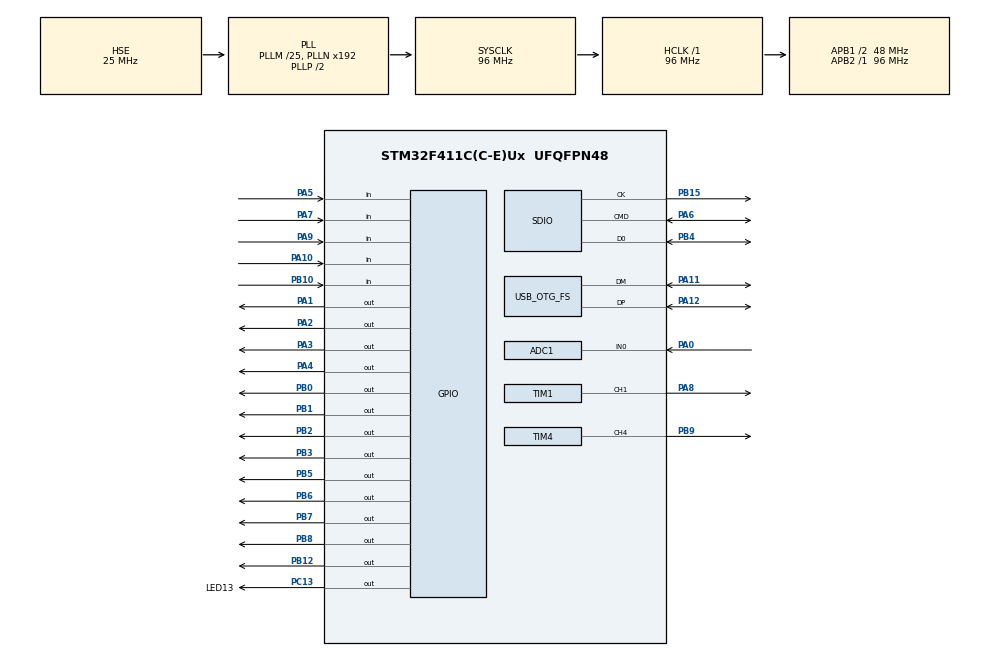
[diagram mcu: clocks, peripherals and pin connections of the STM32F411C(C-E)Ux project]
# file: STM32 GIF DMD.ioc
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ADC1.Channel-0\#ChannelRegularConversion=ADC_CHANNEL_0
ADC1.NbrOfConversionFlag=1
ADC1.Rank-0\#ChannelRegularConversion=1
ADC1.SamplingTime-0\#ChannelRegularConversion=ADC_SAMPLETIME_480CYCLES
ADC1.master=1
Dma.Request0=TIM1_CH2
Dma.TIM1_CH2.0.Direction=DMA_MEMORY_TO_PERIPH
Dma.TIM1_CH2.0.FIFOMode=DMA_FIFOMODE_ENABLE
Dma.TIM1_CH2.0.FIFOThreshold=DMA_FIFO_THRESHOLD_FULL
Dma.TIM1_CH2.0.Instance=DMA2_Stream2
Dma.TIM1_CH2.0.MemBurst=DMA_MBURST_INC16
Dma.TIM1_CH2.0.MemDataAlignment=DMA_MDATAALIGN_BYTE
Dma.TIM1_CH2.0.MemInc=DMA_MINC_ENABLE
Dma.TIM1_CH2.0.Mode=DMA_NORMAL
Dma.TIM1_CH2.0.PeriphBurst=DMA_PBURST_SINGLE
Dma.TIM1_CH2.0.PeriphDataAlignment=DMA_PDATAALIGN_BYTE
Dma.TIM1_CH2.0.PeriphInc=DMA_PINC_DISABLE
Dma.TIM1_CH2.0.Priority=DMA_PRIORITY_LOW
FATFS.BSP.number=1
FATFS.USE_DMA_CODE_SD=0
FATFS._MAX_SS=512
FATFS._USE_LFN=1
FATFS._USE_MKFS=0
FATFS0.BSP.STBoard=false
FATFS0.BSP.api=Unknown
FATFS0.BSP.i2caddr=0
FATFS0.BSP.instance=PA10
FATFS0.BSP.ip=GPIO
FATFS0.BSP.mode=Input
FATFS0.BSP.name=Detect_SDIO
FATFS0.BSP.solution=PA10
Mcu.Family=STM32F4
Mcu.Name=STM32F411C(C-E)Ux
Mcu.Package=UFQFPN48
NVIC.DMA2_Stream2_IRQn=true\:0\:0\:false\:false\:true\:false\:true
NVIC.OTG_FS_IRQn=true\:0\:0\:true\:false\:true\:true\:true
NVIC.PriorityGroup=NVIC_PRIORITYGROUP_4
NVIC.TIM4_IRQn=true\:0\:0\:true\:false\:true\:true\:true
PA0-WKUP.Signal=ADCx_IN0
PA1.GPIO_Speed=GPIO_SPEED_FREQ_HIGH
PA1.Signal=GPIO_Output
PA10.Signal=GPIO_Input
PA11.Mode=Device_Only
PA11.Signal=USB_OTG_FS_DM
PA12.Mode=Device_Only
PA12.Signal=USB_OTG_FS_DP
PA13.Mode=Serial_Wire
PA13.Signal=SYS_JTMS-SWDIO
PA14.Mode=Serial_Wire
PA14.Signal=SYS_JTCK-SWCLK
PA2.GPIO_Speed=GPIO_SPEED_FREQ_HIGH
PA2.Signal=GPIO_Output
PA3.GPIO_Speed=GPIO_SPEED_FREQ_HIGH
PA3.Signal=GPIO_Output
PA4.GPIO_Speed=GPIO_SPEED_FREQ_HIGH
PA4.Signal=GPIO_Output
PA5.GPIO_PuPd=GPIO_PULLUP
PA5.Signal=GPIO_Input
PA6.Mode=SD_1_bit
PA6.Signal=SDIO_CMD
PA7.GPIO_PuPd=GPIO_PULLUP
PA7.Signal=GPIO_Input
PA8.Signal=S_TIM1_CH1
PA9.GPIO_PuPd=GPIO_PULLUP
PA9.Signal=GPIO_Input
PB0.GPIO_Speed=GPIO_SPEED_FREQ_HIGH
PB0.Signal=GPIO_Output
PB1.GPIO_Speed=GPIO_SPEED_FREQ_HIGH
PB1.Signal=GPIO_Output
PB10.GPIO_PuPd=GPIO_PULLUP
PB10.Signal=GPIO_Input
PB12.GPIO_Speed=GPIO_SPEED_FREQ_HIGH
PB12.Signal=GPIO_Output
PB15.Mode=SD_1_bit
PB15.Signal=SDIO_CK
PB2.GPIO_Speed=GPIO_SPEED_FREQ_HIGH
PB2.Signal=GPIO_Output
PB3.GPIO_Speed=GPIO_SPEED_FREQ_HIGH
PB3.Signal=GPIO_Output
PB4.Mode=SD_1_bit
PB4.Signal=SDIO_D0
PB5.GPIO_Speed=GPIO_SPEED_FREQ_HIGH
PB5.Signal=GPIO_Output
PB6.GPIO_Speed=GPIO_SPEED_FREQ_HIGH
PB6.Signal=GPIO_Output
PB7.GPIO_Speed=GPIO_SPEED_FREQ_HIGH
PB7.PinState=GPIO_PIN_RESET
PB7.Signal=GPIO_Output
PB8.GPIO_Speed=GPIO_SPEED_FREQ_HIGH
PB8.Signal=GPIO_Output
PB9.Signal=S_TIM4_CH4
PC13-ANTI_TAMP.GPIO_Label=LED13
PC13-ANTI_TAMP.Signal=GPIO_Output
PC14-OSC32_IN.Mode=LSE-External-Oscillator
PC14-OSC32_IN.Signal=RCC_OSC32_IN
PC15-OSC32_OUT.Mode=LSE-External-Oscillator
PC15-OSC32_OUT.Signal=RCC_OSC32_OUT
PH0\ -\ OSC_IN.Mode=HSE-External-Oscillator
PH0\ -\ OSC_IN.Signal=RCC_OSC_IN
PH1\ -\ OSC_OUT.Mode=HSE-External-Oscillator
PH1\ -\ OSC_OUT.Signal=RCC_OSC_OUT
ProjectManager.HeapSize=0x100
ProjectManager.StackSize=0x100
ProjectManager.TargetToolchain=STM32CubeIDE
RCC.48MHZClocksFreq_Value=48000000
RCC.AHBFreq_Value=96000000
RCC.APB1CLKDivider=RCC_HCLK_DIV2
RCC.APB1Freq_Value=48000000
RCC.APB1TimFreq_Value=96000000
RCC.APB2Freq_Value=96000000
RCC.APB2TimFreq_Value=96000000
RCC.CortexFreq_Value=96000000
RCC.HCLKFreq_Value=96000000
RCC.HSE_VALUE=25000000
RCC.HSI_VALUE=16000000
RCC.PLLM=25
RCC.SYSCLKFreq_VALUE=96000000
RCC.SYSCLKSource=RCC_SYSCLKSOURCE_PLLCLK
RCC.VCOOutputFreq_Value=192000000
SH.ADCx_IN0.0=ADC1_IN0,IN0
SH.S_TIM1_CH1.0=TIM1_CH1,PWM Generation1 CH1
SH.S_TIM4_CH4.0=TIM4_CH4,PWM Generation4 CH4
TIM1.AutoReloadPreload=TIM_AUTORELOAD_PRELOAD_DISABLE
TIM1.Channel-PWM\ Generation1\ CH1=TIM_CHANNEL_1
TIM1.Channel-PWM\ Generation2\ No\ Output=TIM_CHANNEL_2
TIM1.ClockDivision=TIM_CLOCKDIVISION_DIV1
TIM1.CounterMode=TIM_COUNTERMODE_UP
TIM1.OCFastMode_PWM-PWM\ Generation1\ CH1=TIM_OCFAST_DISABLE
TIM1.OCMode_PWM-PWM\ Generation1\ CH1=TIM_OCMODE_PWM2
TIM1.Period=8
TIM1.Prescaler=1
TIM1.Pulse-PWM\ Generation1\ CH1=4
TIM1.RepetitionCounter=127
TIM4.AutoReloadPreload=TIM_AUTORELOAD_PRELOAD_ENABLE
TIM4.Channel-PWM\ Generation4\ CH4=TIM_CHANNEL_4
TIM4.Period=65535
TIM4.Prescaler=0
TIM4.TIM_MasterOutputTrigger=TIM_TRGO_RESET
USB_DEVICE.CLASS_NAME_FS=CDC
USB_DEVICE.VirtualMode=Cdc
USB_DEVICE.VirtualModeFS=Cdc_FS
USB_OTG_FS.VirtualMode=Device_Only
VP_FATFS_VS_SDIO.Mode=SDIO
VP_RTC_VS_RTC_Activate.Mode=RTC_Enabled
VP_RTC_VS_RTC_Calendar.Mode=RTC_Calendar
VP_TIM1_VS_ClockSourceINT.Mode=Internal
VP_TIM1_VS_OPM.Mode=OPM_bit
VP_TIM1_VS_no_output2.Mode=PWM Generation2 No Output
VP_TIM4_VS_ClockSourceINT.Mode=Internal
VP_USB_DEVICE_VS_USB_DEVICE_CDC_FS.Mode=CDC_FS
board=Test F411

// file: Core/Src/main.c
/* USER CODE BEGIN Header */
/**
  ******************************************************************************
  * @file           : main.c
  * @brief          : Main program body
  ******************************************************************************
  * @attention
  *
  * <h2><center>&copy; Copyright (c) 2020 STMicroelectronics.
  * All rights reserved.</center></h2>
  *
  * This software component is licensed by ST under Ultimate Liberty license
  * SLA0044, the "License"; You may not use this file except in compliance with
  * the License. You may obtain a copy of the License at:
  *                             www.st.com/SLA0044
  *
  ******************************************************************************
  */
/* USER CODE END Header */
#include "main.h"
#include "adc.h"
#include "dma.h"
#include "fatfs.h"
#include "rtc.h"
#include "sdio.h"
#include "tim.h"
#include "usb_device.h"
#include "gpio.h"

/* USER CODE BEGIN Includes */
#include <math.h>
#include "GIF.h"
#include "DMD.h"
#include "FileManager.h"
#include "profiling.h"

/* USER CODE END Includes */

void SystemClock_Config(void);
/* USER CODE BEGIN PFP */
#include "images.c"
#include "gifs.c"

/* USER CODE END PFP */

/* USER CODE BEGIN 0 */
#define LERP(A, B, X) (A * (1.0f - X) + B * X)

void SendUART(char *txt) {
#if 0
	while(CDC_Transmit_FS(txt, strlen(txt)) == USBD_BUSY) {
	}

	//CDC_Transmit_FS(txt, strlen(txt));
#else
	//CDC_Transmit_FS(txt, strlen(txt));
#endif
}

static char strBuffer[512];

#include <stdio.h>
#include <stdarg.h>
void printf2(char *format, ...) {
    va_list args;
    va_start(args, format);
    vsnprintf(strBuffer, 255, format, args);
    SendUART(strBuffer);
    va_end(args);
}

// Key stuff
#define KEY_DEBOUNCE_THRESHOLD 4
#define KEY_FIRST_REPEAT_TIME 500 // ms
#define KEY_REPEAT_TIME 150 // ms

enum keys {
	KEY_UP = 0,
	KEY_DOWN,
	KEY_MENU,
	KEY_OK
};
struct {
	GPIO_TypeDef *port;
	uint16_t pin;

	uint32_t repeatTime; // time when switch state for repeat

	uint8_t value;
	uint8_t state;
} keys[] = {
		{GPIOB, GPIO_PIN_10, 0, 0},
		{GPIOA, GPIO_PIN_5, 0, 0},
		{GPIOA, GPIO_PIN_7, 0, 0},
		{GPIOA, GPIO_PIN_9, 0, 0},
};

#define KEY_UP_EVENT 0x02
#define KEY_DOWN_EVENT 0x04
#define KEY_REPEAT_EVENT 0x08

// switches are on pull-up GPIO, so when press pin state is GPIO_PIN_RESET
void UpdateKeyState() {
	uint32_t currentTime = HAL_GetTick();

	for(int i = 0; i < sizeof(keys) / sizeof(keys[0]); i++) {
		GPIO_PinState v = HAL_GPIO_ReadPin(keys[i].port, keys[i].pin);

		if(v == GPIO_PIN_RESET && keys[i].value < KEY_DEBOUNCE_THRESHOLD)
			keys[i].value++;
		else if(v == GPIO_PIN_SET && keys[i].value > 0)
			keys[i].value--;

		if(keys[i].state == 0 && keys[i].value == KEY_DEBOUNCE_THRESHOLD) {
			keys[i].state = 1 + KEY_DOWN_EVENT; // set to up state and set down event
			keys[i].repeatTime = currentTime + KEY_FIRST_REPEAT_TIME;
		}
		else if(keys[i].state == 1 && keys[i].value == 0)
			keys[i].state = KEY_UP_EVENT; // set to down state and set down event
		else {
			// key repeat
			if((keys[i].state & 0x01) && (currentTime > keys[i].repeatTime)) {
				keys[i].state |= KEY_DOWN_EVENT + KEY_REPEAT_EVENT; // generate event
				keys[i].repeatTime = currentTime + KEY_REPEAT_TIME; // reset time
			}
			else
				keys[i].state &= 0x1; // keep state bit, reset events
		}
	}
}

// this is saved in RTC register
struct {
	unsigned int randomPlay : 1;
	unsigned int clockDisplayInterval : 3; // 10s increment, from 0 (never) to 7 which is always (no gif)
	unsigned int clockDisplayTime : 3; // 10s increment, if clockDisplayInterval is not 0
	unsigned int luminosityMax : 7; // % of luminosity
	unsigned int luminosityMin : 7; // % of luminosity
} Configuration;

uint32_t currentGIFFileIndex = 0;
float ambientlLuminosity = 1.0f;

int queuedFrame = 0;
GIFError QueueNextGifStreamFrame() {
	// try to read another image in gif stream
	GIFError err = ReadGifImage();
	if(err != GIF_NO_ERROR)
		return err;

	// wait for swap
	while(swapBufferRequest) { }

	// queue the new frame
	EncodeFrameToDMDBuffer(GIFInfo.frame, GIFInfo.codedGlobalPalette);
	queuedFrame = 1;

	return GIF_NO_ERROR;
}

// File Stream
FIL GIFFile;
int FileStreamRead(void* buff, UINT btr,	UINT *l) {
	if(f_read(&GIFFile, buff, btr, l) != FR_OK)
		return GIF_STREAM_ERROR;

	// else
	return GIF_NO_ERROR;
}

FSIZE_t FileStreamTell() {
	return f_tell(&GIFFile);
}

void FileStreamSeek(FSIZE_t pos) {
	f_lseek(&GIFFile, pos);
}

void LoadGIFFile(const char *path) {
	f_close(&GIFFile);

	if(f_open(&GIFFile, path, FA_READ) != FR_OK) {
		SendUART("Can't open file!);");
		return;
	}

	GIFInfo.streamReadCallback = FileStreamRead;
	GIFInfo.streamTellCallback = FileStreamTell;
	GIFInfo.streamSeekCallback = FileStreamSeek;

	LoadGIF();
	QueueNextGifStreamFrame();
}

char GIFFilename[512];
void LoadNextGifFile() {
	// load only .gif file
	int stop = 0;
	while(!stop) {
		if(Configuration.randomPlay)
			currentGIFFileIndex = rand() % FileManager.fileCount; // use GDC 2017 noise based RNG

		GetFilenameAtIndex(currentGIFFileIndex, GIFFilename);

		if(!Configuration.randomPlay)
			currentGIFFileIndex = (currentGIFFileIndex + 1) % FileManager.fileCount;

		int l = strlen(GIFFilename);
		if(l > 5 && strcasecmp(GIFFilename + l - 4, ".gif") == 0)
			stop = 1;
	}

	LoadGIFFile(GIFFilename);
}

// Memory Stream
const uint8_t *memoryStreamPointer = NULL;
const uint8_t *memoryReadStreamPointer = NULL;
int MemoryStreamRead(void* buff, UINT btr,	UINT *l) {
	memcpy(buff, memoryReadStreamPointer, btr);
	*l = btr;

	memoryReadStreamPointer += btr;

	return GIF_NO_ERROR;
}

FSIZE_t MemoryStreamTell() {
	return (memoryReadStreamPointer - memoryStreamPointer);
}

void MemoryStreamSeek(FSIZE_t pos) {
	memoryReadStreamPointer = memoryStreamPointer + pos;
}

void LoadGIFMemory(const uint8_t *data) {
	memoryStreamPointer = data;
	memoryReadStreamPointer = data;

	GIFInfo.streamReadCallback = MemoryStreamRead;
	GIFInfo.streamTellCallback = MemoryStreamTell;
	GIFInfo.streamSeekCallback = MemoryStreamSeek;

	LoadGIF();
	QueueNextGifStreamFrame();
}

// FSM
typedef void(*stateFunction)();

void StartState();
void CardErrorState();
void GIFFileState();
void ClockState();

void MainMenuState();
void DirectoryMenuState();
void SetClockState();
void SettingsMenuState();

stateFunction currentState = StartState;
uint32_t prevFrameTick = 0;
uint32_t frameTick = 0;
uint32_t clockStartTick = 0;
uint32_t gifStartTick = 0;
uint32_t luminosityStartTick = 0;
uint8_t luminosityVisible = 0;

// Menu drawing
uint8_t menuFrame[128 * 32];
uint8_t menuPalette[256 * 8];

void SetState(stateFunction func) {
	if(func == StartState) {
		LoadGIFMemory(startupGIF);
	}

	else if(func == CardErrorState) {
		ResetSDCard();
		MX_FATFS_DeInit();

		LoadGIFMemory(nocardGIF);
	}

	else if(func == GIFFileState) {
		gifStartTick = HAL_GetTick();
		LoadNextGifFile();
	}

	else if(func == ClockState) {
		CodePalette((uint8_t *)clockFont.palette, menuPalette, 256);
		clockStartTick = HAL_GetTick();
	}

	else if(func == SetClockState) {
		CodePalette((uint8_t *)clockFont.palette, menuPalette, 256);
		clockStartTick = HAL_GetTick();
	}

	else if(func == DirectoryMenuState) {
		CodePalette((uint8_t *)menuFont.palette, menuPalette, 256);
	}

	else if(func == SettingsMenuState) {
		CodePalette((uint8_t *)menuFont.palette, menuPalette, 256);
	}

	else if(func == MainMenuState) {
		CodePalette((uint8_t *)menuFont.palette, menuPalette, 256);
	}

	currentState = func;
}

// swap buffer if needed, decode next frame
// return if there's no more frame in current gif
GIFError UpdateGIF() {
	uint32_t currentTick = HAL_GetTick();
	GIFError err = GIF_NO_ERROR;
	if(currentTick - prevFrameTick > frameTick) {
		if(queuedFrame) {
			// request swap
			swapBufferRequest = 1;
			queuedFrame = 0;

			// reset frame timer
			frameTick = GIFInfo.delayTime;
			prevFrameTick = currentTick;

			// try to read another image
			err = QueueNextGifStreamFrame();
		}
		else {
			// no more gif frame to display
			err = GIF_NO_MORE_QUEUED_FRAME;
		}
	}

	return err;
}

void UpdateLuminosity() {
	if(keys[KEY_UP].state & KEY_DOWN_EVENT) {
		Configuration.luminosityMin = MIN(Configuration.luminosityMin + 5 * (1.0f - ambientlLuminosity), 100);
		Configuration.luminosityMax = MIN(Configuration.luminosityMax + 5 * ambientlLuminosity, 100);

		luminosityStartTick = HAL_GetTick();
		luminosityVisible = 1;
	}
	if(keys[KEY_DOWN].state & KEY_DOWN_EVENT) {
		Configuration.luminosityMin = MIN(Configuration.luminosityMin - 5 * (1.0f - ambientlLuminosity), 100);
		Configuration.luminosityMax = MIN(Configuration.luminosityMax - 5 * ambientlLuminosity, 100);

		luminosityStartTick = HAL_GetTick();
		luminosityVisible = 1;
	}

	int v = LERP(Configuration.luminosityMin, Configuration.luminosityMax, ambientlLuminosity);
	if(luminosityVisible) {
		if(HAL_GetTick() - luminosityStartTick > 20000) {
			luminosityVisible = 0;
		}
		else {
			// draw luminosity progress bar over current frame
			for(uint32_t p = 0; p < 8; p++) {
				for(uint32_t y = 12; y < 16; y++) {
					for(uint32_t x = 13; x < 115; x++) {
						if(y == 12 || y == 15) { // black line
							writeBuffer[x + y * 128 + p * 128 * 16] &= ~(0XE0); // black
						}
						else {
							if(x == 13 || x > 14 + v)
								writeBuffer[x + y * 128 + p * 128 * 16] &= ~(0xE0); // black
							else
								writeBuffer[x + y * 128 + p * 128 * 16] |= 0xE0; // white
						}
					}
				}
			}
		}
	}
}

void StartState() {
	GIFError err = UpdateGIF();

	if(err == GIF_NO_MORE_QUEUED_FRAME) {
		// if there's a car
		if(BSP_PlatformIsDetected() == SD_PRESENT && !InitSDCard()) {
			// switch to file state
			if(Configuration.clockDisplayInterval != 0)
				SetState(ClockState);
			else
				SetState(GIFFileState);
		}
		else {
			// switch to error state
			SetState(CardErrorState);
		}
	}

	UpdateLuminosity();
}

void CardErrorState() {
	GIFError err = UpdateGIF();

	// loop animation if needed
	if(err == GIF_STREAM_FINISHED) {
		GIFInfo.streamSeekCallback(GIFInfo.gifStart);
		QueueNextGifStreamFrame();
	}
	else {
		if(BSP_PlatformIsDetected() == SD_PRESENT) {
			// try to mount the card
			MX_FATFS_Init();

			if(!InitSDCard()) {
				// we are good!
				SetState(GIFFileState);
			}
			else {
				// we are not good!
				MX_FATFS_DeInit();
			}
		}
	}

	UpdateLuminosity();
}

void GIFFileState() {
	GIFError err = UpdateGIF();
	if(err == GIF_STREAM_FINISHED) {
		// how long?
		if(Configuration.clockDisplayInterval == 0 || HAL_GetTick() - gifStartTick < Configuration.clockDisplayInterval * 10000) {
			LoadNextGifFile();
		}
	}

	else if(err == GIF_NO_MORE_QUEUED_FRAME) {
		// we get there only if there's no more gif frame, ie, it's time to show the clock!
		SetState(ClockState);
	}

	else if(err != GIF_NO_ERROR) {
		// switch to error state
		SetState(CardErrorState);
	}

	else if((keys[KEY_MENU].state & KEY_DOWN_EVENT)) {
		SetState(MainMenuState);
	}

	UpdateLuminosity();
}

void CopySubImage(const Image *src, uint8_t sx, uint8_t sy, uint8_t w, uint8_t h, uint8_t *dst, uint8_t dx, uint8_t dy) {
	uint8_t _w = dx + w > 127 ? 128 - dx : w;
	uint8_t _h = dy + h > 31 ? 32 - dy : h;

	for(uint8_t y = 0; y < _h; y++)
		for(uint8_t x = 0; x < _w; x++)
			if(src->pixels[sx + x + (sy + y) * src->width] != 0) // transparent color is always 0!
				dst[dx + x + (dy + y) * 128] = src->pixels[sx + x + (sy + y) * src->width];
}

void PrintChar(int c, uint8_t x, uint8_t y) {
	CopySubImage(&clockFont, c * 16, 0, 16, 16, menuFrame, x, y);
}

void DrawTime(uint8_t x, uint8_t y, uint8_t blink) {
	RTC_TimeTypeDef time;
	HAL_RTC_GetTime(&hrtc, &time, RTC_FORMAT_BCD);
	RTC_DateTypeDef date;
	HAL_RTC_GetDate(&hrtc, &date, RTC_FORMAT_BCD);

	uint8_t h2 = time.SubSeconds & ((time.SecondFraction + 1) >> 1); // this is 1/2 second
	uint8_t h4 = time.SubSeconds & ((time.SecondFraction + 1) >> 2); // this is 1/4 second

	if(!(blink & 0x01) || h4)
		PrintChar(time.Hours >> 4, x + 0, y);

	if(!(blink & 0x01) || h4)
		PrintChar(time.Hours & 0x0F, x + 16, y);

	if(h2)
		PrintChar(10, x + 28, 8);

	if(!(blink & 0x02) || h4)
		PrintChar(time.Minutes >> 4, x + 40, y);

	if(!(blink & 0x02) || h4)
		PrintChar(time.Minutes & 0x0F, x + 56, y);
}

void ClockState() {
	// erase bg
	memset(menuFrame, 10, 128 * 32);

	DrawTime(30, 8, 0);

	swapBufferRequest = 1;
	while(swapBufferRequest) { }
	EncodeFrameToDMDBuffer(menuFrame, menuPalette);
	UpdateLuminosity();

	if(Configuration.clockDisplayInterval != 0x07 && HAL_GetTick() - clockStartTick > Configuration.clockDisplayTime * 10000)
		SetState(GIFFileState);

	else if((keys[KEY_MENU].state & KEY_DOWN_EVENT)) {
		SetState(MainMenuState);
	}

}

int digit = 0;
void SetClockState() {
	// erase bg
	memset(menuFrame, 10, 128 * 32);

	DrawTime(30, 8, 1 << digit);

	if((keys[KEY_OK].state & KEY_DOWN_EVENT)) {
		digit++;
		if(digit == 2)
			digit = 0;
	}

	RTC_TimeTypeDef time;
	HAL_RTC_GetTime(&hrtc, &time, RTC_FORMAT_BIN);
	RTC_DateTypeDef date;
	HAL_RTC_GetDate(&hrtc, &date, RTC_FORMAT_BIN);

	if((keys[KEY_UP].state & KEY_DOWN_EVENT)) {
		switch (digit){
			case 0:
				time.Hours = (time.Hours + 1) % 24;
				break;
			case 1:
				time.Minutes = (time.Minutes + 1) % 60;
				break;
		}

		HAL_RTC_SetTime(&hrtc, &time, RTC_FORMAT_BIN);
		HAL_RTC_SetDate(&hrtc, &date, RTC_FORMAT_BIN);
	}

	if((keys[KEY_DOWN].state & KEY_DOWN_EVENT)) {
		switch (digit){
			case 0:
				time.Hours = (time.Hours + 24 - 1) % 24;
				break;
			case 1:
				time.Minutes = (time.Minutes + 60 - 1) % 60;
				break;
		}

		HAL_RTC_SetTime(&hrtc, &time, RTC_FORMAT_BIN);
		HAL_RTC_SetDate(&hrtc, &date, RTC_FORMAT_BIN);
	}

	if(keys[KEY_MENU].state & KEY_DOWN_EVENT) {
		SetState(MainMenuState);
	}
	else {
		swapBufferRequest = 1;
		while(swapBufferRequest) { }
		EncodeFrameToDMDBuffer(menuFrame, menuPalette);
	}

}

int32_t CopySubImageCharacter(const Image *src, int32_t sx, int32_t sy, int32_t w, int32_t h, uint8_t *dst, int32_t dx, int32_t dy) {
	int32_t maxX = 0;

	for(int32_t y = 0; y < h; y++) {
		for(int32_t x = 0; x < w; x++) {
			if(src->pixels[sx + x + (sy + y) * src->width] != 0) { // transparent color is always 0!
				if(dx + x >= 0 && dx + x < 128 && dy + y >= 0 && dy + y < 32)
					dst[dx + x + (dy + y) * 128] = src->pixels[sx + x + (sy + y) * src->width];
				maxX = x > maxX ? x : maxX;
			}
		}
	}

	return maxX + 1;
}

int32_t PrintMenuChar(int c, int32_t x, int32_t y) {
	return CopySubImageCharacter(&menuFont, c * 9, 0, 9, 10, menuFrame, x, y);
}

void PrintMenuStr(const char *str, int32_t x, int32_t y) {
	const char *p = str;
	while(*p) {
		if(*p == 32)
			x += 9; // space
		if(*p > 32 && *p < 127)
			x += PrintMenuChar(*p - 30, x, y) - 1; // -1 to merge character outline together
		p++;
	}
}

int directoryMenuOffset = 0;
int directoryMenuSelectedItem = 0;
void DirectoryMenuState() {
	// erase bg
	memset(menuFrame, 0x03, 128 * 32);

	PrintMenuStr("Exit", 9, 0 + directoryMenuOffset);

	char dirName[255];
	int firstIdx = MAX(-directoryMenuOffset - 10, 0) / 10;
	for(int i = firstIdx; i < MIN(firstIdx + 4, FileManager.directoryCount); i++) {
		GetDirectoryAtIndex(i, dirName);
		PrintMenuChar(FileManager.directories[i].enable ? 2 : 1, 10, (i + 1) * 10 + directoryMenuOffset);
		PrintMenuStr(dirName, 19, (i + 1) *  10 + directoryMenuOffset);
	}

	// cursor
	PrintMenuChar(0, 1, directoryMenuSelectedItem * 10 + directoryMenuOffset);

	if((keys[KEY_DOWN].state & KEY_DOWN_EVENT) && directoryMenuSelectedItem < FileManager.directoryCount) {
		directoryMenuSelectedItem++;
	}
	if((keys[KEY_UP].state & KEY_DOWN_EVENT) && directoryMenuSelectedItem > 0) {
		directoryMenuSelectedItem--;
	}

	if(keys[KEY_OK].state & KEY_DOWN_EVENT) {
		if(directoryMenuSelectedItem == 0)
			SetState(MainMenuState);
		else {
			FileManager.directories[directoryMenuSelectedItem - 1].enable = !FileManager.directories[directoryMenuSelectedItem - 1].enable;
			UpdateFileCount();
			if(Configuration.randomPlay)
				currentGIFFileIndex = rand() % FileManager.fileCount;
			else
				currentGIFFileIndex = 0;
		}
	}

	else {
		// scroll
		if(directoryMenuSelectedItem * 10 + directoryMenuOffset < 0)
			directoryMenuOffset += 2;
		else if(directoryMenuSelectedItem * 10 + 9 + directoryMenuOffset > 32)
			directoryMenuOffset -= 2;

		swapBufferRequest = 1;
		while(swapBufferRequest) { }
		EncodeFrameToDMDBuffer(menuFrame, menuPalette);
	}
}

int settingsMenuSelectedItem = 0;
int settingsMenuOffset = 0;
void SettingsMenuState() {
	memset(menuFrame, 0x03, 128 * 32);

	// print menu item
	PrintMenuStr("Exit", 9, 0 + settingsMenuOffset);
	if(Configuration.randomPlay) {
		PrintMenuStr("Random  [On]", 9, 10 + settingsMenuOffset);
		currentGIFFileIndex = rand() % FileManager.fileCount;
	}
	else {
		PrintMenuStr("Random  [Off]", 9, 10 + settingsMenuOffset);
		currentGIFFileIndex = 0;
	}

	// clock display interval
	char buff[16];
	PrintMenuStr("Clock", 9, 20 + settingsMenuOffset);
	if(!Configuration.clockDisplayInterval)
		PrintMenuStr("Disabled", 54, 20 + settingsMenuOffset);
	else if(Configuration.clockDisplayInterval == 0x07)
		PrintMenuStr("Always", 54, 20 + settingsMenuOffset);
	else {
		sprintf(buff, "Every %ds", Configuration.clockDisplayInterval * 10);
		PrintMenuStr(buff, 54, 20 + settingsMenuOffset);
	}

	// clock display time
	sprintf(buff, "for %ds", Configuration.clockDisplayTime * 10);
	PrintMenuStr(buff, 9, 30 + settingsMenuOffset);

	// cursor
	PrintMenuChar(0, 1, settingsMenuSelectedItem * 10 + settingsMenuOffset);

	if((keys[KEY_DOWN].state & KEY_DOWN_EVENT) && settingsMenuSelectedItem < 3) {
		settingsMenuSelectedItem++;
	}
	if((keys[KEY_UP].state & KEY_DOWN_EVENT) && settingsMenuSelectedItem > 0) {
		settingsMenuSelectedItem--;
	}

	if(keys[KEY_MENU].state & KEY_DOWN_EVENT) {
		if(Configuration.clockDisplayInterval != 0)
			SetState(ClockState);
		else
			SetState(GIFFileState);
	}

	if(keys[KEY_OK].state & KEY_DOWN_EVENT) {
		switch(settingsMenuSelectedItem) {
		case 0:
			SetState(MainMenuState);
			break;
		case 1:
			Configuration.randomPlay = !Configuration.randomPlay;
			break;
		case 2:
			Configuration.clockDisplayInterval++;
			break;
		case 3:
			Configuration.clockDisplayTime++;
			if(!Configuration.clockDisplayTime)
				Configuration.clockDisplayTime = 1; // 10s min
			break;
		}
	}

	// scroll
	if(settingsMenuSelectedItem * 10 + settingsMenuOffset < 0)
		settingsMenuOffset += 2;

	if(settingsMenuSelectedItem * 10 + 9 + settingsMenuOffset > 32)
		settingsMenuOffset -= 2;

	swapBufferRequest = 1;
	while(swapBufferRequest) { }
	EncodeFrameToDMDBuffer(menuFrame, menuPalette);
}

int mainMenuSelectedItem = 0;
int mainMenuOffset = 0;
void MainMenuState() {
	memset(menuFrame, 0x03, 128 * 32);

	// print menu item
	PrintMenuStr("Exit", 9, 0 + mainMenuOffset);
	PrintMenuStr("Settings", 9, 10 + mainMenuOffset);
	PrintMenuStr("Directories", 9, 20 + mainMenuOffset);
	PrintMenuStr("Clock", 9, 30 + mainMenuOffset);

	// cursor
	PrintMenuChar(0, 1, mainMenuSelectedItem * 10 + mainMenuOffset);

	if((keys[KEY_DOWN].state & KEY_DOWN_EVENT) && mainMenuSelectedItem < 3) {
		mainMenuSelectedItem++;
	}
	if((keys[KEY_UP].state & KEY_DOWN_EVENT) && mainMenuSelectedItem > 0) {
		mainMenuSelectedItem--;
	}

	if(keys[KEY_MENU].state & KEY_DOWN_EVENT) {
		if(Configuration.clockDisplayInterval != 0)
			SetState(ClockState);
		else
			SetState(GIFFileState);
	}

	if(keys[KEY_OK].state & KEY_DOWN_EVENT) {
		switch(mainMenuSelectedItem) {
		case 0:
			if(Configuration.clockDisplayInterval != 0)
				SetState(ClockState);
			else
				SetState(GIFFileState);
			break;
		case 1:
			SetState(SettingsMenuState);
			break;
		case 2:
			SetState(DirectoryMenuState);
			break;
		case 3:
			SetState(SetClockState);
			break;
		}
	}

	// scroll
	if(mainMenuSelectedItem * 10 + mainMenuOffset < 0)
		mainMenuOffset += 2;

	if(mainMenuSelectedItem * 10 + 9 + mainMenuOffset > 32)
		mainMenuOffset -= 2;

	swapBufferRequest = 1;
	while(swapBufferRequest) { }
	EncodeFrameToDMDBuffer(menuFrame, menuPalette);
}

// H : 0..360
// S : 0..1
// V : 0..1
// rgb: uint8_t[3]
void HSVtoRGB(float h, float s, float v, uint8_t *rgb) {
    float c = s*v;
    float x = c * (1.0f - fabs(fmod(h / 60.0f, 2.0f) - 1.0f));
    float m = v - c;

    float r, g, b;
    if(h >= 300.0f) {
        r = c;
        g = 0.0f;
        b = x;
    }

    else if(h >= 240.0f) {
        r = x;
        g = 0.0f;
        b = c;
    }

    else if(h >= 180.0f) {
        r = 0.0f;
        g = x;
        b = c;
    }

    else if(h >= 120.0f) {
        r = 0.0f;
        g = c;
        b = x;
    }

    else if(h > 60.0f) {
        r = x;
        g = c;
        b = 0.0f;
    }

    else {
        r = c;
        g = x;
        b = 0.0f;
    }

    rgb[0] = (r + m) * 255.0f;
    rgb[1] = (g + m) * 255.0f;
    rgb[2] = (b + m) * 255.0f;
}

#if 0
uint8_t testPalette[256 * 3];
uint8_t codedTestPalette[256 * 8];
uint8_t testFrame[4096];

double time = 0.0;
uint32_t prevTick = 0;

void ColorTestState() {
	float h = 360.0f * (sin(M_PI * 2.0f * time * 0.1f) * 0.5f + 0.5f);
	float s = (sin(M_PI * 2.0f * time * 1.0f) * 0.5f + 0.5f);

	// create palette for this frame
	for(int i = 0; i < 256; i++) {
		HSVtoRGB(h, s, 1.0f - i / 255.0f, &testPalette[i * 3]);
	}

	CodePalette(testPalette, codedTestPalette, 256);

	// create image
	for(int y = 0; y < 32; y++) {
		for(int x = 0; x < 128; x++) {
			testFrame[x + y * 128] = x + y * 4;
		}
	}

	swapBufferRequest = 1;
	while(swapBufferRequest) { }
	EncodeFrameToDMDBuffer(testFrame, codedTestPalette);

	uint32_t current = HAL_GetTick();
	double dt = (current - prevTick) * 0.001;
	time += dt;
	prevTick = current;
}
#endif

/* USER CODE END 0 */

int main(void)
{

  /* MCU Configuration--------------------------------------------------------*/

  /* Reset of all peripherals, Initializes the Flash interface and the Systick. */
  HAL_Init();

  /* Configure the system clock */
  SystemClock_Config();

  /* Initialize all configured peripherals */
  MX_GPIO_Init();
  MX_DMA_Init();
  MX_USB_DEVICE_Init();
  MX_FATFS_Init();
  MX_TIM4_Init();
  MX_TIM1_Init();
  MX_SDIO_SD_Init();
  MX_RTC_Init();
  MX_ADC1_Init();

  /* Infinite loop */
  /* USER CODE BEGIN WHILE */

  // default configuration
  Configuration.randomPlay = 1;
  Configuration.clockDisplayInterval = 0;
  Configuration.clockDisplayTime = 1;
  Configuration.luminosityMin = 10;
  Configuration.luminosityMax = 100;

  //HAL_RTCEx_BKUPWrite(&hrtc, RTC_BKP_DR0, 0x02);
  uint32_t v = HAL_RTCEx_BKUPRead(&hrtc, RTC_BKP_DR0);
  if(v != 0x88) {
	  printf("OUch");
  }

  //LoadGIFFile("Computers/AMIGA_MonkeyIsland01.gif");
  //LoadNextGif();

  // init rand
  srand(hrtc.Instance->TR);

  prevFrameTick = HAL_GetTick();
  frameTick = 0;

  DMDInit();

  // start ambient light capture
  HAL_ADC_Start(&hadc1);

  SetState(StartState);

  while (1)
  {
    /* USER CODE END WHILE */

    /* USER CODE BEGIN 3 */
	  // update keys
	  UpdateKeyState();

	  // run current state
	  currentState();

	  // detect light

	  if(HAL_ADC_PollForConversion(&hadc1, 0) == HAL_OK) {
		  float adcLum = HAL_ADC_GetValue(&hadc1);

#define ADC_LUM_MIN 80
#define ADC_LUM_MAX 1400
		  adcLum = MAX(0.0f, MIN(1.0f, (adcLum - ADC_LUM_MIN) / (ADC_LUM_MAX - ADC_LUM_MIN)));

		  // Low pass filter
		  float a = 0.9f;
		  ambientlLuminosity = ambientlLuminosity * a + adcLum * (1.0f - a);

		  // set lum
		  SetDMDLuminosity(LERP(Configuration.luminosityMin, Configuration.luminosityMax, ambientlLuminosity));
		  HAL_ADC_Start(&hadc1);
	  }
  }
  /* USER CODE END 3 */
}

void SystemClock_Config(void)
{
  RCC_OscInitTypeDef RCC_OscInitStruct = {0};
  RCC_ClkInitTypeDef RCC_ClkInitStruct = {0};
  RCC_PeriphCLKInitTypeDef PeriphClkInitStruct = {0};

  /** Configure the main internal regulator output voltage
  */
  __HAL_RCC_PWR_CLK_ENABLE();
  __HAL_PWR_VOLTAGESCALING_CONFIG(PWR_REGULATOR_VOLTAGE_SCALE1);
  /** Initializes the RCC Oscillators according to the specified parameters
  * in the RCC_OscInitTypeDef structure.
  */
  RCC_OscInitStruct.OscillatorType = RCC_OSCILLATORTYPE_LSI|RCC_OSCILLATORTYPE_HSE;
  RCC_OscInitStruct.HSEState = RCC_HSE_ON;
  RCC_OscInitStruct.LSIState = RCC_LSI_ON;
  RCC_OscInitStruct.PLL.PLLState = RCC_PLL_ON;
  RCC_OscInitStruct.PLL.PLLSource = RCC_PLLSOURCE_HSE;
  RCC_OscInitStruct.PLL.PLLM = 25;
  RCC_OscInitStruct.PLL.PLLN = 192;
  RCC_OscInitStruct.PLL.PLLP = RCC_PLLP_DIV2;
  RCC_OscInitStruct.PLL.PLLQ = 4;
  if (HAL_RCC_OscConfig(&RCC_OscInitStruct) != HAL_OK)
  {
    Error_Handler();
  }
  /** Initializes the CPU, AHB and APB buses clocks
  */
  RCC_ClkInitStruct.ClockType = RCC_CLOCKTYPE_HCLK|RCC_CLOCKTYPE_SYSCLK
                              |RCC_CLOCKTYPE_PCLK1|RCC_CLOCKTYPE_PCLK2;
  RCC_ClkInitStruct.SYSCLKSource = RCC_SYSCLKSOURCE_PLLCLK;
  RCC_ClkInitStruct.AHBCLKDivider = RCC_SYSCLK_DIV1;
  RCC_ClkInitStruct.APB1CLKDivider = RCC_HCLK_DIV2;
  RCC_ClkInitStruct.APB2CLKDivider = RCC_HCLK_DIV1;

  if (HAL_RCC_ClockConfig(&RCC_ClkInitStruct, FLASH_LATENCY_3) != HAL_OK)
  {
    Error_Handler();
  }
  PeriphClkInitStruct.PeriphClockSelection = RCC_PERIPHCLK_RTC;
  PeriphClkInitStruct.RTCClockSelection = RCC_RTCCLKSOURCE_LSI;
  if (HAL_RCCEx_PeriphCLKConfig(&PeriphClkInitStruct) != HAL_OK)
  {
    Error_Handler();
  }
}

void Error_Handler(void)
{
}

/************************ (C) COPYRIGHT STMicroelectronics *****END OF FILE****/
